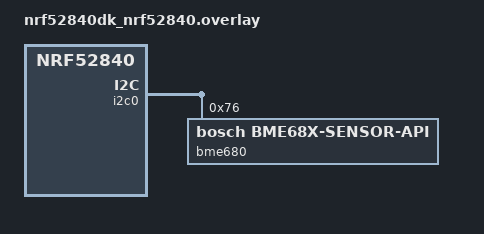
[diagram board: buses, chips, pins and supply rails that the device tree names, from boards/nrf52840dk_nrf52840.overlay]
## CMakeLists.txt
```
# SPDX-License-Identifier: Apache-2.0

cmake_minimum_required(VERSION 3.20.5)

# Add path to the extra module if bme68x is not
# installed as an external project managed by West:
#
# list(APPEND ZEPHYR_EXTRA_MODULES
#     ${CMAKE_SOURCE_DIR}/../..
# )

find_package(Zephyr REQUIRED HINTS $ENV{ZEPHYR_BASE})
project(sample-bme68x-esp)

target_sources(app PRIVATE
  src/main.c
)

target_compile_options(app PRIVATE -Wall -Werror)
```

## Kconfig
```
# Copyright (c) 2025, Chris Duf
#
# SPDX-License-Identifier: Apache-2.0

menu "BME68X Sample - ESP"

module = BME68X_SAMPLE
module-str = app
source "subsys/logging/Kconfig.template.log_config"

endmenu # "BME68X Sample - ESP"

source "Kconfig.zephyr"
```

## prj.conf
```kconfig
# SPDX-License-Identifier: Apache-2.0

# Implied when the devicetree contains compatible devices:
#CONFIG_BME68X_SENSOR_API_DRIVER=y
#CONFIG_BME68X_SENSOR_API=y

# Enable the floating-point version of BME68X Sensor API.
#CONFIG_BME68X_SENSOR_API_FLOAT=y

# Enable BSEC/IAQ library.
CONFIG_BSEC=y
CONFIG_BME68X_IAQ=y
# Adjust main stack size to accommodate the BSEC working buffers.
CONFIG_MAIN_STACK_SIZE=8192

# Enable ESP
CONFIG_BME68X_ESP=y
# Bluetooth LE Peripheral role.
CONFIG_BT=y
CONFIG_BT_PERIPHERAL=y
# Name can be up to 248 bytes long (excluding NULL termination).
# Can be empty string.
# See also CONFIG_BT_DEVICE_NAME_MAX.
CONFIG_BT_DEVICE_NAME="ESP Sensor (BME68X)"
# Bluetooth device appearance (Assigned_Numbers §2.6.2/§2.6.3)
# 0x0543: Temperature sensor
CONFIG_BT_DEVICE_APPEARANCE=1347

# Automatically resume advertising.
CONFIG_BME68X_ESP_GAP_ADV_AUTO=y
# Allow two connected centrals (default 1).
#CONFIG_BT_MAX_CONN=2

# Allow Bluetooth clients to reconfigure notifications:
# - all connected centrals
#CONFIG_BME68X_ES_TRIGGER_SETTINGS_WRITE
# - only over encrypted connections (requires SMP)
#CONFIG_BME68X_ES_TRIGGER_SETTINGS_WRITE_ENCRYPT=y
# - only over authenticated connections (requires SMP)
#CONFIG_BME68X_ES_TRIGGER_SETTINGS_WRITE_AUTHEN

# Enable and configure Bluetooth Security Manager Protocol
# required for pairing.
#CONFIG_BT_SMP=y

# Enable Bluetooth Settings required for bonding.
# Note: enabling CONFIG_BT_SETTINGS without CONFIG_BT_SMP
#       may cause set-value errors on boot:
#       settings: set-value failure. key: bt/hash error(-2)
#CONFIG_BT_SETTINGS=y
# Delete oldest key when pairing attempt occurs and the key storage is full.
#CONFIG_BT_KEYS_OVERWRITE_OLDEST=y

# Enabling encrypted connections with the default system workqueue
# stack size causes hard MPU FAULT Stack overflow.
#CONFIG_SYSTEM_WORKQUEUE_STACK_SIZE=2048

# Enable privacy for the local device.
# This makes the device use Resolvable Private Addresses (RPAs) by default.
#CONFIG_BT_PRIVACY=y

# Global Settings subsystem configuration with NVS backend.
#CONFIG_SETTINGS=y
#CONFIG_NVS=y
#CONFIG_FLASH=y
#CONFIG_FLASH_MAP=y
#CONFIG_SETTINGS_NVS=y

CONFIG_LOG=y
CONFIG_STDOUT_CONSOLE=y
# Logging floating point numbers.
CONFIG_CBPRINTF_FP_SUPPORT=y

# Troubleshoot ESP.
CONFIG_BME68X_ESP_LOG_LEVEL_DBG=y

# Troubleshoot BSEC control loop.
#CONFIG_BME68X_IAQ_LOG_LEVEL_DBG=y

# Troubleshoot communication interfaces
#CONFIG_I2C_LOG_LEVEL_DBG=y
#CONFIG_SPI_LOG_LEVEL_DBG=y

# Export threads information for debugger RTOS plugins.
# Supported by https://pyocd.io/docs/gdbserver.html
#CONFIG_DEBUG_THREAD_INFO=y
```

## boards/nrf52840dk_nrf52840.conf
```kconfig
# Copyright (c) 2025, Chris Duf
#
# SPDX-License-Identifier: Apache-2.0

# Enable hardware floating-point ABI:
CONFIG_FPU=y

# Enable BSEC state persistence to flash storage.
CONFIG_BME68X_IAQ_SETTINGS=y

# Security Manager Protocol (SMP), required to pair devices over LE.
#CONFIG_BT_SMP=y
# Enable Bluetooth Settings (SMP somewhat broken without persistence)
# Note: enabling CONFIG_BT_SETTINGS without CONFIG_BT_SMP
#       cause set-value errors on boot:
#       settings: set-value failure. key: bt/hash error(-2)
#CONFIG_BT_SETTINGS=y
# Delete oldest key when pairing attempt occurs and the key storage is full.
#CONFIG_BT_KEYS_OVERWRITE_OLDEST=y

# Enable privacy for the local device.
# This makes the device use Resolvable Private Addresses (RPAs) by default.
#CONFIG_BT_PRIVACY=y

# Enabling authenticated connections with the default system workqueue
# stack size causes hard MPU FAULT Stack overflow.
#CONFIG_SYSTEM_WORKQUEUE_STACK_SIZE=2048

# Global Settings subsystem configuration with NVS backend.
CONFIG_SETTINGS=y
CONFIG_NVS=y
CONFIG_FLASH=y
CONFIG_FLASH_MAP=y
CONFIG_SETTINGS_NVS=y

# Troubleshoot NVS.
# CONFIG_NVS_LOG_LEVEL_DBG=y
# CONFIG_FLASH_LOG_LEVEL_DBG=y
```

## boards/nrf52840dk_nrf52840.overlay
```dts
/*
 * SPDX-License-Identifier: Apache-2.0
 *
 * Example DTS overlay with a single BME680/688 device
 * connected to I2C.
 */

&i2c0 {
	bme680@76 {
		compatible = "bosch,bme68x-sensor-api";
		reg = <0x76>;
	};
};
```

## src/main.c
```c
/*
 * Copyright (c) 2025, Chris Duf
 *
 * SPDX-License-Identifier: Apache-2.0
 *
 * BSEC-based Environmental Sensing Service (ESS).
 */

#include <drivers/bme68x_sensor_api.h>
#include "bme68x.h"
#include "bme68x_esp_gap.h"
#include "bme68x_esp_sensor.h"
#include "bme68x_ess.h"
#include "bme68x_iaq.h"

#include <stdint.h>

#include <zephyr/logging/log.h>
#ifdef CONFIG_SETTINGS
#include <zephyr/settings/settings.h>
#endif

LOG_MODULE_REGISTER(app, CONFIG_BME68X_SAMPLE_LOG_LEVEL);

#ifdef CONFIG_BME68X_ES_TRIGGER_SETTINGS_WRITE_AUTHEN
/* Logging-based DisplayOnly I/O for authenticating connections.
 */
#define LE_CONN_ADDR_STR(CONN, S)                                                                  \
	char S[BT_ADDR_LE_STR_LEN];                                                                \
	bt_addr_le_to_str(bt_conn_get_dst(CONN), S, sizeof(S))

static void cb_auth_passkey_display(struct bt_conn *conn, unsigned int passkey)
{
	LE_CONN_ADDR_STR(conn, addr_str);
	LOG_INF("%s - Passkey: %06u", addr_str, passkey);
}
static void cb_auth_cancel(struct bt_conn *conn)
{
	LE_CONN_ADDR_STR(conn, addr_str);
	LOG_INF("%s - Authentication canceled", addr_str);
}
struct bt_conn_auth_cb const *conn_auth_callbacks = &(struct bt_conn_auth_cb){
	.passkey_display = cb_auth_passkey_display,
	.cancel = cb_auth_cancel,
};
#else
/* JustWorks pairing or Bluetooth SMP disabled. */
struct bt_conn_auth_cb const *conn_auth_callbacks = NULL;
#endif

static void iaq_output_handler(struct bme68x_iaq_sample const *iaq_sample);
static void cb_gap_state_changed(uint32_t flags, uint8_t conn_avail);

int main(void)
{
	/* Any compatible device will be fine. */
	struct device const *const dev = DEVICE_DT_GET_ONE(bosch_bme68x_sensor_api);

	struct bme68x_dev bme68x_dev = {0};
	int ret = bme68x_sensor_api_init(dev, &bme68x_dev);
	if (!ret) {
		ret = bme68x_init(&bme68x_dev);
	}
	if (ret) {
		LOG_ERR("BME68X initialization failed: %d", ret);
		return 0;
	}

	/* Initialize settings subsystem early. */
#ifdef CONFIG_SETTINGS
	ret = settings_subsys_init();
	if (ret) {
		LOG_ERR("Settings subsystem error: %d", ret);
		return 0;
	}
#endif

	/* Initialize Bluetooth Environmental Sensor role (ESS). */
	ret = bme68x_esp_sensor_init(cb_gap_state_changed, conn_auth_callbacks);
	if (ret) {
		LOG_ERR("ESP initialization failed: %d", ret);
		return 0;
	}

	/* Initialize and configure BSEC IAQ. */
	ret = bme68x_iaq_init();
	if (ret) {
		LOG_ERR("IAQ initialization failed: %d", ret);
		return 0;
	}

	/* Start updating ESS Characteristics with BSEC algorithm output. */
	bme68x_iaq_run(&bme68x_dev, iaq_output_handler);

	return 0;
}

void iaq_output_handler(struct bme68x_iaq_sample const *iaq_sample)
{
	LOG_INF("%.02f degC, %.01f Pa, %.02f%%", (double)iaq_sample->temperature,
		(double)iaq_sample->raw_pressure, (double)iaq_sample->humidity);
	LOG_INF("VOC: %0.3f ppm", (double)iaq_sample->voc_equivalent);

	/* Update ESS Characteristics. */
	(void)bme68x_ess_update_temperature(iaq_sample->temperature * 100);
	(void)bme68x_ess_update_pressure(iaq_sample->raw_pressure * 10);
	(void)bme68x_ess_update_humidity(iaq_sample->humidity * 100);
}

void cb_gap_state_changed(uint32_t flags, uint8_t conn_avail)
{
	if (flags & BME68X_GAP_STATE_ADV_CONN) {
		/* E.g. turn LED on. */
		LOG_INF("advertising LED: ON");
	} else {
		/* E.g. turn LED off. */
		LOG_INF("advertising LED: OFF");
	}
}
```
